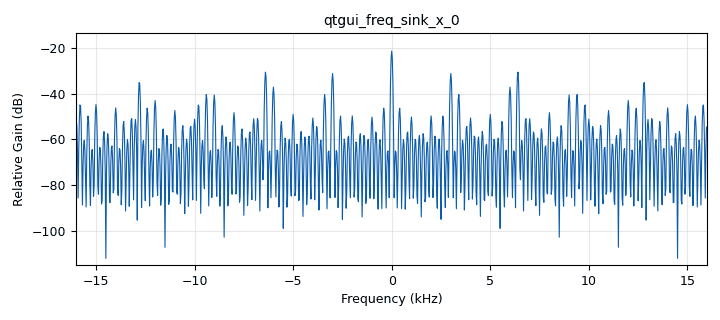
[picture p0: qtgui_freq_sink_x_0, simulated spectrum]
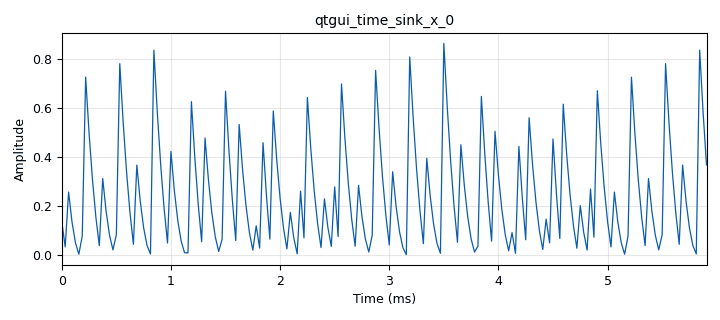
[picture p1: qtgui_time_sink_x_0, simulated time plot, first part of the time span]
options:
  parameters:
    author: LaurayLuis
    category: '[Modulos_]'
    copyright: UIS
    generate_options: qt_gui
    id: multiply
    output_language: python
    title: Multiplicacion
  states: {}

blocks:
- name: samp_rate
  id: variable
  parameters:
    value: '32000'
  states: {}
- name: CalculoPotenciaComunicaciones_0
  id: CalculoPotenciaComunicaciones
  parameters:
    l_vect: '1024'
  states: {}
- name: analog_sig_source_x_0
  id: analog_sig_source_x
  parameters:
    amp: '1'
    freq: '61000'
    offset: '0'
    phase: '0'
    samp_rate: samp_rate
    type: float
    waveform: analog.GR_SAW_WAVE
  states: {}
- name: analog_sig_source_x_1
  id: analog_sig_source_x
  parameters:
    amp: '1'
    freq: '1017600'
    offset: '0'
    phase: '0'
    samp_rate: samp_rate
    type: float
    waveform: analog.GR_SAW_WAVE
  states: {}
- name: blocks_multiply_xx_0
  id: blocks_multiply_xx
  parameters:
    type: float
  states: {}
- name: qtgui_freq_sink_x_0
  id: qtgui_freq_sink_x
  parameters:
    autoscale: 'True'
    bw: samp_rate
    fc: '0'
    fftsize: '1024'
    type: float
  states: {}
- name: qtgui_time_sink_x_0
  id: qtgui_time_sink_x
  parameters:
    autoscale: 'True'
    size: '1024'
    srate: samp_rate
    type: float
  states: {}

connections:
- [analog_sig_source_x_0, '0', blocks_multiply_xx_0, '0']
- [analog_sig_source_x_1, '0', blocks_multiply_xx_0, '1']
- [blocks_multiply_xx_0, '0', CalculoPotenciaComunicaciones_0, '0']
- [blocks_multiply_xx_0, '0', qtgui_freq_sink_x_0, '0']
- [blocks_multiply_xx_0, '0', qtgui_time_sink_x_0, '0']

metadata:
  file_format: 1
